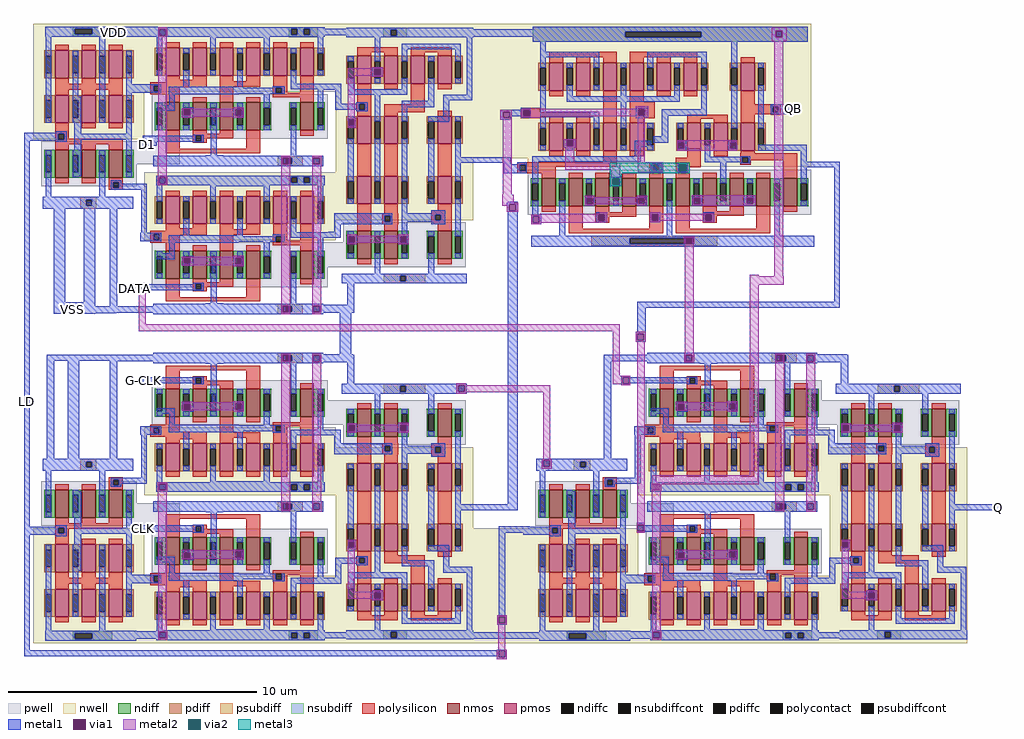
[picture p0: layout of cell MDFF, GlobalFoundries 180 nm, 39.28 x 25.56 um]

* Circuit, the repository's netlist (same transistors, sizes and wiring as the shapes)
* NGSPICE file created from MDFF.ext - technology: gf180mcuD

.subckt pmos_3p3_V9Y6F7 w_n230_n242# a_56_n112# a_n56_n156# a_n144_n112#
X0 a_56_n112# a_n56_n156# a_n144_n112# w_n230_n242# pfet_03v3 ad=0.4928p pd=3.12u as=0.4928p ps=3.12u w=1.12u l=0.56u
.ends

.subckt nmos_3p3_F2UGVV a_164_n112# a_n164_n156# a_n252_n112# a_52_n156# a_n52_n112#
+ VSUBS
X0 a_164_n112# a_52_n156# a_n52_n112# VSUBS nfet_03v3 ad=0.4928p pd=3.12u as=0.2912p ps=1.64u w=1.12u l=0.56u
X1 a_n52_n112# a_n164_n156# a_n252_n112# VSUBS nfet_03v3 ad=0.2912p pd=1.64u as=0.4928p ps=3.12u w=1.12u l=0.56u
.ends

.subckt nmos_3p3_A2UGVV a_56_n112# a_n56_n156# a_n144_n112# VSUBS
X0 a_56_n112# a_n56_n156# a_n144_n112# VSUBS nfet_03v3 ad=0.4928p pd=3.12u as=0.4928p ps=3.12u w=1.12u l=0.56u
.ends

.subckt tspc2_magic CLK D Q QB VDD VSS
Xpmos_3p3_V9Y6F7_0 VDD m1_467_40# D VDD pmos_3p3_V9Y6F7
Xpmos_3p3_V9Y6F7_1 VDD m1_467_40# D VDD pmos_3p3_V9Y6F7
Xpmos_3p3_V9Y6F7_2 VDD a_1434_n99# CLK VDD pmos_3p3_V9Y6F7
Xpmos_3p3_V9Y6F7_3 VDD a_697_n933# CLK m1_467_40# pmos_3p3_V9Y6F7
Xpmos_3p3_V9Y6F7_4 VDD m1_467_40# D VDD pmos_3p3_V9Y6F7
Xpmos_3p3_V9Y6F7_5 VDD VDD D m1_467_40# pmos_3p3_V9Y6F7
Xpmos_3p3_V9Y6F7_6 VDD Q QB VDD pmos_3p3_V9Y6F7
Xpmos_3p3_V9Y6F7_7 VDD VDD a_1434_n99# QB pmos_3p3_V9Y6F7
Xpmos_3p3_V9Y6F7_8 VDD VDD CLK a_1434_n99# pmos_3p3_V9Y6F7
Xpmos_3p3_V9Y6F7_9 VDD QB a_1434_n99# VDD pmos_3p3_V9Y6F7
Xnmos_3p3_F2UGVV_0 m1_622_n799# a_697_n933# m1_622_n799# a_697_n933# a_1434_n99# VSS
+ nmos_3p3_F2UGVV
Xnmos_3p3_F2UGVV_1 m1_1476_n799# CLK m1_1476_n799# CLK QB VSS nmos_3p3_F2UGVV
Xnmos_3p3_A2UGVV_0 VSS D a_697_n933# VSS nmos_3p3_A2UGVV
Xnmos_3p3_A2UGVV_1 m1_622_n799# CLK VSS VSS nmos_3p3_A2UGVV
Xnmos_3p3_A2UGVV_2 VSS CLK m1_622_n799# VSS nmos_3p3_A2UGVV
Xnmos_3p3_A2UGVV_3 m1_1476_n799# a_1434_n99# VSS VSS nmos_3p3_A2UGVV
Xnmos_3p3_A2UGVV_4 VSS a_1434_n99# m1_1476_n799# VSS nmos_3p3_A2UGVV
Xpmos_3p3_V9Y6F7_10 VDD a_697_n933# CLK m1_467_40# pmos_3p3_V9Y6F7
Xnmos_3p3_A2UGVV_5 Q QB VSS VSS nmos_3p3_A2UGVV
Xpmos_3p3_V9Y6F7_12 VDD a_697_n933# CLK m1_467_40# pmos_3p3_V9Y6F7
Xpmos_3p3_V9Y6F7_11 VDD m1_467_40# CLK a_697_n933# pmos_3p3_V9Y6F7
Xpmos_3p3_V9Y6F7_13 VDD Q QB VDD pmos_3p3_V9Y6F7
.ends

.subckt pmos_3p3_VZX6F7 a_164_n112# a_n164_n156# a_n252_n112# a_52_n156# w_n338_n242#
+ a_n52_n112#
X0 a_164_n112# a_52_n156# a_n52_n112# w_n338_n242# pfet_03v3 ad=0.4928p pd=3.12u as=0.2912p ps=1.64u w=1.12u l=0.56u
X1 a_n52_n112# a_n164_n156# a_n252_n112# w_n338_n242# pfet_03v3 ad=0.2912p pd=1.64u as=0.4928p ps=3.12u w=1.12u l=0.56u
.ends

.subckt AND2_magic A B VDD VOUT VSS
Xpmos_3p3_VZX6F7_0 VDD A VDD A VDD a_1071_n42# pmos_3p3_VZX6F7
Xpmos_3p3_VZX6F7_1 VDD B VDD B VDD a_1071_n42# pmos_3p3_VZX6F7
Xpmos_3p3_VZX6F7_2 VDD a_1071_n42# VDD a_1071_n42# VDD VOUT pmos_3p3_VZX6F7
Xnmos_3p3_F2UGVV_0 m1_349_n207# B m1_349_n207# B VSS VSS nmos_3p3_F2UGVV
Xnmos_3p3_A2UGVV_0 m1_349_n207# A a_1071_n42# VSS nmos_3p3_A2UGVV
Xnmos_3p3_A2UGVV_1 a_1071_n42# A m1_349_n207# VSS nmos_3p3_A2UGVV
Xnmos_3p3_A2UGVV_2 VOUT a_1071_n42# VSS VSS nmos_3p3_A2UGVV
.ends

.subckt pmos_3p3_VRCSD7 a_n56_24# a_n272_24# a_272_n292# a_56_n292# a_160_24# a_n360_n292#
+ a_n160_68# a_n272_n336# a_n360_68# a_160_n336# a_n56_n336# a_272_68# a_56_68# w_n446_n422#
+ a_n160_n292#
X0 a_272_68# a_160_24# a_56_68# w_n446_n422# pfet_03v3 ad=0.4928p pd=3.12u as=0.2912p ps=1.64u w=1.12u l=0.56u
X1 a_56_n292# a_n56_n336# a_n160_n292# w_n446_n422# pfet_03v3 ad=0.2912p pd=1.64u as=0.2912p ps=1.64u w=1.12u l=0.56u
X2 a_272_n292# a_160_n336# a_56_n292# w_n446_n422# pfet_03v3 ad=0.4928p pd=3.12u as=0.2912p ps=1.64u w=1.12u l=0.56u
X3 a_n160_68# a_n272_24# a_n360_68# w_n446_n422# pfet_03v3 ad=0.2912p pd=1.64u as=0.4928p ps=3.12u w=1.12u l=0.56u
X4 a_n160_n292# a_n272_n336# a_n360_n292# w_n446_n422# pfet_03v3 ad=0.2912p pd=1.64u as=0.4928p ps=3.12u w=1.12u l=0.56u
X5 a_56_68# a_n56_24# a_n160_68# w_n446_n422# pfet_03v3 ad=0.2912p pd=1.64u as=0.2912p ps=1.64u w=1.12u l=0.56u
.ends

.subckt OR_magic A B VOUT VSS VDD
Xpmos_3p3_V9Y6F7_0 VDD VOUT a_822_n570# VDD pmos_3p3_V9Y6F7
Xpmos_3p3_V9Y6F7_4 VDD a_822_n570# B m1_99_40# pmos_3p3_V9Y6F7
Xpmos_3p3_VZX6F7_0 m1_99_40# B m1_99_40# B VDD a_822_n570# pmos_3p3_VZX6F7
Xpmos_3p3_V9Y6F7_5 VDD m1_99_40# A VDD pmos_3p3_V9Y6F7
Xpmos_3p3_VZX6F7_1 m1_99_40# A m1_99_40# A VDD VDD pmos_3p3_VZX6F7
Xpmos_3p3_V9Y6F7_6 VDD VOUT a_822_n570# VDD pmos_3p3_V9Y6F7
Xpmos_3p3_V9Y6F7_7 VDD a_822_n570# B m1_99_40# pmos_3p3_V9Y6F7
Xpmos_3p3_V9Y6F7_8 VDD m1_99_40# A VDD pmos_3p3_V9Y6F7
Xnmos_3p3_A2UGVV_0 a_822_n570# B VSS VSS nmos_3p3_A2UGVV
Xnmos_3p3_A2UGVV_1 VOUT a_822_n570# VSS VSS nmos_3p3_A2UGVV
Xnmos_3p3_A2UGVV_2 VSS A a_822_n570# VSS nmos_3p3_A2UGVV
.ends

.subckt nmos_3p3_G2UGVV a_272_n112# a_56_n112# a_n272_n156# a_160_n156# a_n56_n156#
+ a_n360_n112# a_n160_n112# VSUBS
X0 a_56_n112# a_n56_n156# a_n160_n112# VSUBS nfet_03v3 ad=0.2912p pd=1.64u as=0.2912p ps=1.64u w=1.12u l=0.56u
X1 a_272_n112# a_160_n156# a_56_n112# VSUBS nfet_03v3 ad=0.4928p pd=3.12u as=0.2912p ps=1.64u w=1.12u l=0.56u
X2 a_n160_n112# a_n272_n156# a_n360_n112# VSUBS nfet_03v3 ad=0.2912p pd=1.64u as=0.4928p ps=3.12u w=1.12u l=0.56u
.ends

.subckt mux_magic IN1 IN2 VOUT SEL VDD VSS
XAND2_magic_0 AND2_magic_0/A IN1 VDD OR_magic_0/A VSS AND2_magic
XAND2_magic_1 SEL IN2 VDD OR_magic_0/B VSS AND2_magic
Xpmos_3p3_VRCSD7_0 SEL SEL AND2_magic_0/A VDD SEL VDD AND2_magic_0/A SEL VDD SEL SEL
+ AND2_magic_0/A VDD VDD AND2_magic_0/A pmos_3p3_VRCSD7
XOR_magic_0 OR_magic_0/A OR_magic_0/B VOUT VSS VDD OR_magic
Xnmos_3p3_G2UGVV_0 AND2_magic_0/A VSS SEL SEL SEL VSS AND2_magic_0/A VSS nmos_3p3_G2UGVV
.ends

.subckt MDFF LD Q QB DATA D1 G-CLK CLK VSS VDD
Xtspc2_magic_0 mux_magic_3/VOUT tspc2_magic_0/D tspc2_magic_0/Q QB VDD VSS tspc2_magic
Xmux_magic_0 D1 DATA tspc2_magic_0/D LD VDD VSS mux_magic
Xmux_magic_2 tspc2_magic_0/Q DATA Q LD VDD VSS mux_magic
Xmux_magic_3 CLK G-CLK mux_magic_3/VOUT LD VDD VSS mux_magic
.ends

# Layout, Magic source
magic
tech gf180mcuD
magscale 1 10
<< nwell >>
rect -5337 -3607 -5228 -3605
rect -5440 -3684 -5228 -3607
rect -5440 -3685 -5333 -3684
rect -2396 -4661 -1957 -3581
rect -2396 -4731 -2395 -4661
rect -1958 -4731 -1957 -4661
rect -2456 -7640 -2396 -7390
rect -2456 -8317 -1959 -7640
rect -2396 -8567 -1959 -8317
<< nsubdiff >>
rect -5337 -3607 -5228 -3605
rect -5440 -3622 -5228 -3607
rect -5440 -3668 -5305 -3622
rect -5259 -3668 -5228 -3622
rect -5440 -3684 -5228 -3668
rect -5440 -3685 -5333 -3684
<< nsubdiffcont >>
rect -5305 -3668 -5259 -3622
<< metal1 >>
rect -5337 -3607 -5228 -3604
rect -5440 -3622 -5228 -3607
rect -5440 -3668 -5305 -3622
rect -5259 -3668 -5228 -3622
rect -5440 -3684 -5228 -3668
rect -5190 -3684 -4936 -3604
rect -2407 -3683 -1883 -3623
rect 12 -3636 126 -3608
rect -5440 -3685 -5333 -3684
rect 12 -3688 38 -3636
rect 90 -3688 126 -3636
rect 12 -3720 126 -3688
rect -2178 -4272 -2093 -4270
rect -2178 -4286 -2082 -4272
rect -2178 -4338 -2155 -4286
rect -2103 -4325 -2082 -4286
rect 164 -4308 192 -4229
rect -2103 -4338 -2093 -4325
rect -2178 -4352 -2093 -4338
rect -6012 -8622 -5965 -4457
rect -5056 -4562 -4943 -4482
rect -2150 -4710 -2095 -4652
rect -2150 -4781 -2017 -4710
rect 302 -4735 554 -4689
rect -2137 -4782 -2017 -4781
rect -5771 -5820 -5678 -5019
rect -5530 -5820 -5437 -5015
rect -2117 -5020 -2037 -5013
rect -2128 -5033 -2033 -5020
rect -2128 -5085 -2107 -5033
rect -2055 -5085 -2033 -5033
rect -2128 -5092 -2033 -5085
rect -5102 -5669 -5024 -5665
rect -5138 -5678 -5024 -5669
rect -5138 -5730 -5088 -5678
rect -5036 -5730 -5024 -5678
rect -5138 -5743 -5024 -5730
rect -5138 -5744 -5073 -5743
rect -5771 -5855 -5437 -5820
rect -5771 -5909 -5268 -5855
rect -5771 -5913 -5437 -5909
rect -5573 -5914 -5437 -5913
rect -5830 -6291 -5272 -6244
rect -5830 -7129 -5769 -6291
rect -5659 -6293 -5272 -6291
rect -5659 -7140 -5568 -6293
rect -3472 -6296 -3378 -5884
rect -5058 -6473 -5046 -6424
rect -2533 -6491 -2455 -6473
rect -2533 -6543 -2515 -6491
rect -2463 -6543 -2455 -6491
rect -2533 -6559 -2455 -6543
rect -2117 -7448 -2037 -5092
rect -687 -5300 -632 -5299
rect -687 -5352 -686 -5300
rect -634 -5352 -632 -5300
rect -687 -5353 -632 -5352
rect 508 -5819 554 -4735
rect -1075 -5865 554 -5819
rect -1075 -6059 -1006 -5865
rect -1088 -6076 -1006 -6059
rect -1088 -6128 -1074 -6076
rect -1022 -6081 -1006 -6076
rect -1022 -6128 -1007 -6081
rect -1088 -6141 -1007 -6128
rect -685 -6245 -630 -6244
rect -685 -6297 -684 -6245
rect -632 -6297 -630 -6245
rect -685 -6298 -630 -6297
rect -1205 -6424 -1134 -6413
rect -1205 -6426 -1057 -6424
rect -1205 -6478 -1191 -6426
rect -1139 -6473 -1057 -6426
rect -1139 -6478 -1134 -6473
rect -1205 -6491 -1134 -6478
rect -1841 -7093 -1771 -7089
rect -1841 -7145 -1831 -7093
rect -1779 -7145 -1771 -7093
rect -1841 -7151 -1771 -7145
rect -2192 -7495 -2037 -7448
rect 1810 -7495 1844 -7448
rect -2117 -7497 -2037 -7495
rect -1079 -7612 -1015 -7597
rect -5064 -7667 -5037 -7618
rect -2190 -7678 -1942 -7626
rect -1079 -7664 -1074 -7612
rect -1022 -7664 -1015 -7612
rect -1079 -7678 -1015 -7664
rect -2190 -8340 -2138 -7678
rect -2204 -8354 -2126 -8340
rect -2204 -8406 -2190 -8354
rect -2138 -8406 -2126 -8354
rect -2204 -8417 -2126 -8406
rect -2421 -8531 -1841 -8478
rect -2206 -8622 -2127 -8617
rect -6012 -8625 -2127 -8622
rect -6012 -8669 -2192 -8625
rect -2206 -8677 -2192 -8669
rect -2140 -8677 -2127 -8625
rect -2206 -8693 -2127 -8677
<< via1 >>
rect 38 -3688 90 -3636
rect -2155 -4338 -2103 -4286
rect -2107 -5085 -2055 -5033
rect -5088 -5730 -5036 -5678
rect -2515 -6543 -2463 -6491
rect -686 -5352 -634 -5300
rect -1074 -6128 -1022 -6076
rect -684 -6297 -632 -6245
rect -1191 -6478 -1139 -6426
rect -1831 -7145 -1779 -7093
rect -1074 -7664 -1022 -7612
rect -2190 -8406 -2138 -8354
rect -2192 -8677 -2140 -8625
<< metal2 >>
rect 8 -3636 126 -3608
rect 8 -3688 38 -3636
rect 90 -3688 126 -3636
rect 8 -3720 126 -3688
rect -2178 -4271 -2093 -4270
rect -2178 -4286 -2087 -4271
rect -2178 -4338 -2155 -4286
rect -2103 -4338 -2087 -4286
rect -2178 -4352 -2087 -4338
rect -2160 -4957 -2087 -4352
rect -2162 -5020 -2071 -4957
rect -2162 -5033 -2033 -5020
rect -2162 -5045 -2107 -5033
rect -2128 -5085 -2107 -5045
rect -2055 -5085 -2033 -5033
rect -2128 -5092 -2033 -5085
rect -700 -5300 -618 -5292
rect -700 -5352 -686 -5300
rect -634 -5352 -618 -5300
rect -5102 -5678 -5024 -5665
rect -5102 -5730 -5088 -5678
rect -5036 -5730 -5024 -5678
rect -5102 -5743 -5024 -5730
rect -5090 -5998 -5034 -5743
rect -5090 -6054 -1217 -5998
rect -1273 -6413 -1217 -6054
rect -1088 -6076 -1007 -6059
rect -1088 -6128 -1074 -6076
rect -1022 -6128 -1007 -6076
rect -1088 -6141 -1007 -6128
rect -1273 -6426 -1134 -6413
rect -2533 -6488 -2455 -6473
rect -1273 -6478 -1191 -6426
rect -1139 -6478 -1134 -6426
rect -1273 -6480 -1134 -6478
rect -2533 -6489 -2401 -6488
rect -2533 -6491 -1776 -6489
rect -1205 -6491 -1134 -6480
rect -2533 -6543 -2515 -6491
rect -2463 -6543 -1776 -6491
rect -2533 -6546 -1776 -6543
rect -2533 -6559 -2455 -6546
rect -1833 -7086 -1776 -6546
rect -1846 -7093 -1764 -7086
rect -1846 -7145 -1831 -7093
rect -1779 -7145 -1764 -7093
rect -1846 -7161 -1764 -7145
rect -1077 -7598 -1016 -6141
rect -694 -6236 -623 -5352
rect -169 -5610 -97 -5601
rect 28 -5610 100 -3720
rect -169 -5682 104 -5610
rect -697 -6245 -618 -6236
rect -697 -6297 -684 -6245
rect -632 -6297 -618 -6245
rect -697 -6304 -618 -6297
rect -169 -7213 -97 -5682
rect -957 -7285 -97 -7213
rect -957 -7336 -885 -7285
rect -1079 -7612 -1015 -7598
rect -1079 -7664 -1074 -7612
rect -1022 -7664 -1015 -7612
rect -1079 -7678 -1015 -7664
rect -2204 -8354 -2126 -8340
rect -2204 -8406 -2190 -8354
rect -2138 -8406 -2126 -8354
rect -2204 -8417 -2126 -8406
rect -2193 -8617 -2137 -8417
rect -2206 -8625 -2127 -8617
rect -2206 -8677 -2192 -8625
rect -2140 -8677 -2127 -8625
rect -2206 -8693 -2127 -8677
use mux_magic  mux_magic_0
transform 1 0 -4332 0 1 -5117
box -1637 -802 2187 1536
use mux_magic  mux_magic_2
transform 1 0 -356 0 -1 -7031
box -1637 -802 2187 1536
use mux_magic  mux_magic_3
transform 1 0 -4332 0 -1 -7031
box -1637 -802 2187 1536
use tspc2_magic  tspc2_magic_0
transform 1 0 -2109 0 1 -4247
box 9 -1127 2457 666
<< labels >>
flabel metal1 s -5991 -6620 -5991 -6620 0 FreeSans 750 0 0 0 LD
port 1 nsew
flabel metal1 s 1833 -7471 1833 -7471 0 FreeSans 750 0 0 0 Q
port 2 nsew
flabel metal1 s 181 -4262 181 -4262 0 FreeSans 750 0 0 0 QB
port 3 nsew
flabel metal1 s -5125 -5711 -5125 -5711 0 FreeSans 750 0 0 0 DATA
port 4 nsew
flabel metal1 s -5014 -4550 -5014 -4550 0 FreeSans 750 0 0 0 D1
port 5 nsew
flabel metal1 s -5052 -6451 -5052 -6451 0 FreeSans 750 0 0 0 G-CLK
port 6 nsew
flabel metal1 s -5050 -7640 -5050 -7640 0 FreeSans 750 0 0 0 CLK
port 7 nsew
flabel metal1 s -5622 -5877 -5622 -5877 0 FreeSans 1250 0 0 0 VSS
port 8 nsew
rlabel metal1 -5360 -3680 -5228 -3620 0 VDD
port 9 nsew
<< end >>

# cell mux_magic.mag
magic
tech gf180mcuD
magscale 1 10
<< nwell >>
rect -1604 1453 -712 1536
rect -1287 1438 -968 1453
rect -1287 1433 -1028 1438
<< pwell >>
rect -650 591 -427 612
rect -775 406 -427 591
rect 766 -421 891 -222
rect 1442 -421 1538 -61
<< psubdiff >>
rect -1229 120 -1098 145
rect -1229 74 -1180 120
rect -1134 74 -1098 120
rect -1229 50 -1098 74
<< nsubdiff >>
rect -1287 1499 -968 1512
rect -1287 1453 -1270 1499
rect -1130 1453 -968 1499
rect -1287 1438 -968 1453
<< psubdiffcont >>
rect -1180 74 -1134 120
<< nsubdiffcont >>
rect -1270 1453 -1130 1499
<< polysilicon >>
rect -1430 1007 -886 1055
rect -1430 651 -1318 710
rect -1430 605 -1404 651
rect -1358 613 -1318 651
rect -1358 605 -886 613
rect -1430 567 -886 605
rect -998 263 -886 289
rect -998 217 -962 263
rect -916 217 -886 263
rect -998 200 -886 217
<< polycontact >>
rect -1404 605 -1358 651
rect -962 217 -916 263
<< metal1 >>
rect -1508 1499 -778 1513
rect -1508 1453 -1270 1499
rect -1130 1498 -778 1499
rect -1130 1495 -529 1498
rect -1130 1453 -590 1495
rect -1508 1443 -590 1453
rect -538 1443 -529 1495
rect 692 1446 957 1496
rect -1508 1441 -529 1443
rect -1508 1439 -530 1441
rect -1508 1433 -778 1439
rect -1505 741 -1459 1433
rect -1289 950 -1243 1321
rect -1289 780 -1220 950
rect -1426 660 -1335 672
rect -1637 651 -1335 660
rect -1637 605 -1404 651
rect -1358 605 -1335 651
rect -1637 597 -1335 605
rect -1426 586 -1335 597
rect -1275 652 -1220 780
rect -1073 741 -1027 1433
rect -857 1050 -811 1321
rect -857 982 -707 1050
rect 766 1009 873 1055
rect 729 1006 873 1009
rect -857 652 -811 982
rect 827 845 873 1006
rect -1275 604 -811 652
rect -1505 146 -1459 521
rect -1275 480 -1220 604
rect -1289 310 -1220 480
rect -1289 301 -1243 310
rect -1073 146 -1027 521
rect -857 301 -811 604
rect -724 587 -558 636
rect 392 459 462 462
rect 392 407 401 459
rect 453 407 462 459
rect 392 405 462 407
rect 641 460 711 463
rect 641 408 650 460
rect 702 408 711 460
rect 1914 417 2187 464
rect 641 406 711 408
rect -599 303 -529 306
rect -980 263 -899 277
rect -980 217 -962 263
rect -916 249 -899 263
rect -599 251 -590 303
rect -538 251 -529 303
rect -599 249 -529 251
rect -916 217 -691 249
rect -980 203 -691 217
rect -1531 120 -800 146
rect -1531 74 -1180 120
rect -1134 74 -800 120
rect -1531 49 -800 74
rect -991 -737 -931 49
rect -738 -144 -691 203
rect 818 -77 941 13
rect 818 -138 869 -77
rect -746 -212 -574 -144
rect 768 -184 869 -138
rect 768 -185 827 -184
rect -715 -607 -559 -558
rect 920 -725 979 -520
rect 671 -730 979 -725
rect 392 -734 462 -731
rect -991 -788 -603 -737
rect 392 -786 401 -734
rect 453 -786 462 -734
rect 392 -788 462 -786
rect 641 -733 979 -730
rect 641 -785 650 -733
rect 702 -785 979 -733
rect 641 -787 979 -785
rect 671 -788 979 -787
rect 671 -790 965 -788
<< via1 >>
rect -590 1443 -538 1495
rect 401 407 453 459
rect 650 408 702 460
rect -590 251 -538 303
rect 401 -786 453 -734
rect 650 -785 702 -733
<< metal2 >>
rect -601 1495 -527 1510
rect -601 1443 -590 1495
rect -538 1443 -527 1495
rect -601 1431 -527 1443
rect -599 476 -529 1431
rect -602 316 -529 476
rect 390 459 465 474
rect 390 407 401 459
rect 453 407 465 459
rect 390 392 465 407
rect 639 460 715 475
rect 639 408 650 460
rect 702 408 715 460
rect 639 392 715 408
rect -602 303 -527 316
rect -602 251 -590 303
rect -538 251 -527 303
rect -602 237 -527 251
rect 392 -718 462 392
rect 641 -125 711 392
rect 641 -215 708 -125
rect 641 -718 711 -215
rect 390 -734 465 -718
rect 390 -786 401 -734
rect 453 -786 465 -734
rect 390 -800 465 -786
rect 639 -733 713 -718
rect 639 -785 650 -733
rect 702 -785 713 -733
rect 639 -799 713 -785
use AND2_magic  AND2_magic_0
transform 1 0 -747 0 1 990
box 35 -598 1575 546
use AND2_magic  AND2_magic_1
transform 1 0 -747 0 1 -204
box 35 -598 1575 546
use nmos_3p3_G2UGVV  nmos_3p3_G2UGVV_0
transform 1 0 -1158 0 1 411
box -384 -180 384 180
use OR_magic  OR_magic_0
transform 1 0 828 0 1 925
box 0 -1478 1136 611
use pmos_3p3_VRCSD7  pmos_3p3_VRCSD7_0
transform 1 0 -1158 0 1 1031
box -446 -422 446 422
<< labels >>
flabel metal1 s -701 611 -701 611 0 FreeSans 750 0 0 0 IN1
port 1 nsew
flabel metal1 s -701 -588 -701 -588 0 FreeSans 750 0 0 0 IN2
port 2 nsew
flabel metal1 s 2142 436 2142 436 0 FreeSans 750 0 0 0 VOUT
port 3 nsew
flabel metal1 s -1530 626 -1530 626 0 FreeSans 750 0 0 0 SEL
port 4 nsew
flabel metal1 s -1001 1478 -1001 1478 0 FreeSans 1250 0 0 0 VDD
port 5 nsew
rlabel metal1 -1134 60 -1027 150 0 VSS
port 6 nsew
<< end >>

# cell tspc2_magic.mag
magic
tech gf180mcuD
magscale 1 10
<< nwell >>
rect 152 484 2433 666
rect 2152 -484 2433 484
<< psubdiff >>
rect 664 -1057 1679 -1042
rect 664 -1103 973 -1057
rect 1489 -1103 1679 -1057
rect 664 -1121 1679 -1103
<< nsubdiff >>
rect 192 603 2406 642
rect 192 557 938 603
rect 1548 557 2406 603
rect 192 524 2406 557
<< psubdiffcont >>
rect 973 -1103 1489 -1057
<< nsubdiffcont >>
rect 938 557 1548 603
<< polysilicon >>
rect 326 398 870 442
rect 974 398 1518 442
rect 94 -15 181 -10
rect 94 -29 251 -15
rect 94 -75 118 -29
rect 164 -46 251 -29
rect 164 -75 654 -46
rect 94 -86 654 -75
rect 758 -86 870 86
rect 974 40 1086 86
rect 974 -25 1174 40
rect 974 -71 1047 -25
rect 1093 -71 1174 -25
rect 1866 18 1978 86
rect 2106 18 2190 20
rect 1866 1 2190 18
rect 1866 -45 2122 1
rect 2168 -45 2190 1
rect 1866 -61 2190 -45
rect 974 -86 1174 -71
rect 94 -92 251 -86
rect 1086 -94 1174 -86
rect 1434 -99 1762 -63
rect 1866 -86 1978 -61
rect 2106 -63 2190 -61
rect 758 -447 870 -398
rect 1434 -410 1546 -334
rect 67 -469 870 -447
rect 67 -515 89 -469
rect 135 -484 870 -469
rect 1129 -463 1241 -446
rect 135 -515 377 -484
rect 67 -532 377 -515
rect 1129 -509 1162 -463
rect 1208 -509 1241 -463
rect 1129 -532 1241 -509
rect 1345 -470 1546 -410
rect 1861 -405 2321 -375
rect 1861 -451 1880 -405
rect 1926 -431 2321 -405
rect 1926 -451 1947 -431
rect 1861 -469 1947 -451
rect 1345 -516 1377 -470
rect 1423 -486 1546 -470
rect 1423 -516 1457 -486
rect 1345 -532 1457 -516
rect 2209 -532 2321 -431
rect 67 -535 265 -532
rect 481 -981 593 -841
rect 697 -848 809 -800
rect 913 -848 1025 -800
rect 697 -870 1025 -848
rect 697 -916 725 -870
rect 771 -885 1025 -870
rect 1129 -868 1241 -841
rect 771 -916 809 -885
rect 697 -933 809 -916
rect 1129 -914 1153 -868
rect 1199 -914 1241 -868
rect 1129 -981 1241 -914
rect 481 -1019 1241 -981
rect 1345 -981 1457 -841
rect 1561 -868 1889 -841
rect 1561 -914 1584 -868
rect 1630 -877 1889 -868
rect 1630 -914 1673 -877
rect 1561 -933 1673 -914
rect 1993 -981 2105 -841
rect 1345 -1019 2105 -981
<< polycontact >>
rect 118 -75 164 -29
rect 1047 -71 1093 -25
rect 2122 -45 2168 1
rect 89 -515 135 -469
rect 1162 -509 1208 -463
rect 1880 -451 1926 -405
rect 1377 -516 1423 -470
rect 725 -916 771 -870
rect 1153 -914 1199 -868
rect 1584 -914 1630 -868
<< metal1 >>
rect 192 603 2406 642
rect 192 557 938 603
rect 1548 557 2406 603
rect 192 524 2406 557
rect 251 444 297 524
rect 251 398 729 444
rect 251 341 297 398
rect 683 341 729 398
rect 1115 398 1593 444
rect 1115 341 1161 398
rect 1547 341 1593 398
rect 1791 341 1837 524
rect 94 -25 175 -10
rect 22 -26 175 -25
rect 22 -78 115 -26
rect 167 -78 175 -26
rect 94 -90 175 -78
rect 251 -40 297 143
rect 467 86 513 143
rect 899 86 945 143
rect 1331 86 1377 143
rect 467 40 1377 86
rect 251 -86 729 -40
rect 251 -143 297 -86
rect 683 -143 729 -86
rect 899 -143 945 40
rect 1023 -20 1123 -7
rect 1547 -19 1593 143
rect 1023 -72 1043 -20
rect 1095 -72 1123 -20
rect 1023 -83 1123 -72
rect 1230 -73 1593 -19
rect 1023 -94 1077 -83
rect 1230 -238 1284 -73
rect 1791 -143 1837 143
rect 2007 -143 2053 143
rect 2106 1 2285 18
rect 2106 -45 2122 1
rect 2168 -45 2285 1
rect 2106 -61 2285 -45
rect 442 -268 538 -264
rect 442 -320 464 -268
rect 516 -320 538 -268
rect 442 -332 538 -320
rect 1014 -322 1144 -276
rect 1161 -292 1284 -238
rect 1356 -286 1427 -271
rect 1014 -398 1060 -322
rect 1356 -338 1361 -286
rect 1413 -338 1427 -286
rect 1356 -354 1427 -338
rect 1767 -286 1837 -271
rect 1767 -338 1781 -286
rect 1833 -338 1837 -286
rect 190 -444 1060 -398
rect 1575 -401 1621 -341
rect 1767 -354 1837 -338
rect 2007 -353 2396 -307
rect 1866 -401 1943 -398
rect 1575 -405 1943 -401
rect 67 -463 142 -447
rect 9 -469 142 -463
rect 9 -515 89 -469
rect 135 -515 142 -469
rect 9 -521 142 -515
rect 67 -535 142 -521
rect 190 -586 236 -444
rect 1142 -460 1229 -447
rect 1575 -448 1880 -405
rect 1142 -512 1159 -460
rect 1211 -512 1229 -460
rect 1142 -525 1229 -512
rect 1361 -467 1440 -453
rect 1361 -519 1374 -467
rect 1426 -519 1440 -467
rect 1361 -533 1440 -519
rect 813 -576 910 -563
rect 813 -628 835 -576
rect 887 -628 910 -576
rect 1702 -586 1748 -448
rect 1861 -451 1880 -448
rect 1926 -451 1943 -405
rect 1861 -457 1943 -451
rect 2350 -442 2396 -353
rect 2350 -488 2457 -442
rect 2350 -586 2396 -488
rect 813 -641 910 -628
rect 622 -732 689 -716
rect 622 -784 623 -732
rect 675 -784 689 -732
rect 190 -869 236 -787
rect 180 -881 260 -869
rect 180 -933 194 -881
rect 246 -933 260 -881
rect 180 -948 260 -933
rect 406 -1037 452 -784
rect 622 -799 689 -784
rect 1031 -731 1107 -718
rect 1031 -783 1043 -731
rect 1095 -783 1107 -731
rect 1031 -796 1107 -783
rect 1476 -732 1555 -711
rect 1476 -784 1487 -732
rect 1539 -784 1555 -732
rect 703 -865 791 -851
rect 703 -917 721 -865
rect 773 -917 791 -865
rect 703 -932 791 -917
rect 1132 -865 1220 -851
rect 1132 -917 1150 -865
rect 1202 -917 1220 -865
rect 1132 -931 1220 -917
rect 1270 -1037 1316 -784
rect 1476 -799 1555 -784
rect 1889 -731 1987 -711
rect 1889 -783 1913 -731
rect 1965 -783 1987 -731
rect 1889 -797 1987 -783
rect 1563 -865 1651 -850
rect 1563 -917 1581 -865
rect 1633 -917 1651 -865
rect 1563 -930 1651 -917
rect 2134 -1037 2180 -784
rect 178 -1057 2456 -1037
rect 178 -1103 973 -1057
rect 1489 -1103 2456 -1057
rect 178 -1127 2456 -1103
<< via1 >>
rect 115 -29 167 -26
rect 115 -75 118 -29
rect 118 -75 164 -29
rect 164 -75 167 -29
rect 115 -78 167 -75
rect 1043 -25 1095 -20
rect 1043 -71 1047 -25
rect 1047 -71 1093 -25
rect 1093 -71 1095 -25
rect 1043 -72 1095 -71
rect 464 -320 516 -268
rect 1361 -338 1413 -286
rect 1781 -338 1833 -286
rect 1159 -463 1211 -460
rect 1159 -509 1162 -463
rect 1162 -509 1208 -463
rect 1208 -509 1211 -463
rect 1159 -512 1211 -509
rect 1374 -470 1426 -467
rect 1374 -516 1377 -470
rect 1377 -516 1423 -470
rect 1423 -516 1426 -470
rect 1374 -519 1426 -516
rect 835 -628 887 -576
rect 623 -784 675 -732
rect 194 -933 246 -881
rect 1043 -783 1095 -731
rect 1487 -784 1539 -732
rect 721 -870 773 -865
rect 721 -916 725 -870
rect 725 -916 771 -870
rect 771 -916 773 -870
rect 721 -917 773 -916
rect 1150 -868 1202 -865
rect 1150 -914 1153 -868
rect 1153 -914 1199 -868
rect 1199 -914 1202 -868
rect 1150 -917 1202 -914
rect 1913 -783 1965 -731
rect 1581 -868 1633 -865
rect 1581 -914 1584 -868
rect 1584 -914 1630 -868
rect 1630 -914 1633 -868
rect 1581 -917 1633 -914
<< metal2 >>
rect 175 -15 251 -10
rect 1023 -15 1123 3
rect 100 -20 1123 -15
rect 100 -26 1043 -20
rect 100 -78 115 -26
rect 167 -72 1043 -26
rect 1095 -72 1123 -20
rect 167 -78 1123 -72
rect 100 -86 251 -78
rect 175 -90 251 -86
rect 1023 -94 1123 -78
rect 442 -268 538 -264
rect 442 -320 464 -268
rect 516 -320 538 -268
rect 442 -332 538 -320
rect 454 -450 526 -332
rect 1037 -446 1095 -94
rect 1356 -286 1837 -271
rect 1356 -338 1361 -286
rect 1413 -338 1781 -286
rect 1833 -338 1837 -286
rect 1356 -354 1837 -338
rect 454 -506 898 -450
rect 825 -563 898 -506
rect 1037 -460 1241 -446
rect 1037 -512 1159 -460
rect 1211 -512 1241 -460
rect 1037 -528 1241 -512
rect 1361 -465 1440 -453
rect 1361 -521 1372 -465
rect 1428 -521 1440 -465
rect 1361 -533 1440 -521
rect 813 -576 910 -563
rect 813 -632 834 -576
rect 890 -632 910 -576
rect 813 -641 910 -632
rect 609 -728 689 -716
rect 1031 -728 1115 -718
rect 609 -731 1115 -728
rect 609 -732 1043 -731
rect 609 -784 623 -732
rect 675 -783 1043 -732
rect 1095 -783 1115 -731
rect 675 -784 1115 -783
rect 609 -786 1115 -784
rect 609 -799 689 -786
rect 1031 -796 1115 -786
rect 1473 -731 1987 -711
rect 1473 -732 1913 -731
rect 1473 -784 1487 -732
rect 1539 -783 1913 -732
rect 1965 -783 1987 -731
rect 1539 -784 1987 -783
rect 1473 -797 1987 -784
rect 1473 -799 1972 -797
rect 730 -859 791 -851
rect 712 -863 791 -859
rect 248 -865 791 -863
rect 248 -869 721 -865
rect 180 -881 721 -869
rect 180 -933 194 -881
rect 246 -917 721 -881
rect 773 -917 791 -865
rect 246 -932 791 -917
rect 1132 -863 1220 -851
rect 1563 -863 1651 -856
rect 1132 -865 1651 -863
rect 1132 -917 1150 -865
rect 1202 -917 1581 -865
rect 1633 -917 1651 -865
rect 1132 -919 1651 -917
rect 1132 -931 1220 -919
rect 1563 -930 1651 -919
rect 246 -933 779 -932
rect 180 -948 260 -933
<< via2 >>
rect 1372 -467 1428 -465
rect 1372 -519 1374 -467
rect 1374 -519 1426 -467
rect 1426 -519 1428 -467
rect 1372 -521 1428 -519
rect 834 -628 835 -576
rect 835 -628 887 -576
rect 887 -628 890 -576
rect 834 -632 890 -628
<< metal3 >>
rect 813 -465 1457 -453
rect 813 -521 1372 -465
rect 1428 -521 1457 -465
rect 813 -535 1457 -521
rect 813 -576 910 -535
rect 813 -632 834 -576
rect 890 -632 910 -576
rect 813 -641 910 -632
use nmos_3p3_A2UGVV  nmos_3p3_A2UGVV_0
transform 1 0 321 0 1 -688
box -168 -180 168 180
use nmos_3p3_A2UGVV  nmos_3p3_A2UGVV_1
transform 1 0 537 0 1 -688
box -168 -180 168 180
use nmos_3p3_A2UGVV  nmos_3p3_A2UGVV_2
transform 1 0 1185 0 1 -688
box -168 -180 168 180
use nmos_3p3_A2UGVV  nmos_3p3_A2UGVV_3
transform 1 0 1401 0 1 -688
box -168 -180 168 180
use nmos_3p3_A2UGVV  nmos_3p3_A2UGVV_4
transform 1 0 2049 0 1 -688
box -168 -180 168 180
use nmos_3p3_A2UGVV  nmos_3p3_A2UGVV_5
transform 1 0 2265 0 1 -688
box -168 -180 168 180
use nmos_3p3_F2UGVV  nmos_3p3_F2UGVV_0
transform 1 0 861 0 1 -688
box -276 -180 276 180
use nmos_3p3_F2UGVV  nmos_3p3_F2UGVV_1
transform 1 0 1725 0 1 -688
box -276 -180 276 180
use pmos_3p3_V9Y6F7  pmos_3p3_V9Y6F7_0
transform 1 0 814 0 1 242
box -230 -242 230 242
use pmos_3p3_V9Y6F7  pmos_3p3_V9Y6F7_1
transform 1 0 382 0 1 242
box -230 -242 230 242
use pmos_3p3_V9Y6F7  pmos_3p3_V9Y6F7_2
transform 1 0 382 0 1 -242
box -230 -242 230 242
use pmos_3p3_V9Y6F7  pmos_3p3_V9Y6F7_3
transform 1 0 1030 0 1 -242
box -230 -242 230 242
use pmos_3p3_V9Y6F7  pmos_3p3_V9Y6F7_4
transform 1 0 814 0 1 -242
box -230 -242 230 242
use pmos_3p3_V9Y6F7  pmos_3p3_V9Y6F7_5
transform 1 0 598 0 1 242
box -230 -242 230 242
use pmos_3p3_V9Y6F7  pmos_3p3_V9Y6F7_6
transform 1 0 1922 0 1 -242
box -230 -242 230 242
use pmos_3p3_V9Y6F7  pmos_3p3_V9Y6F7_7
transform 1 0 1706 0 1 -242
box -230 -242 230 242
use pmos_3p3_V9Y6F7  pmos_3p3_V9Y6F7_8
transform 1 0 598 0 1 -242
box -230 -242 230 242
use pmos_3p3_V9Y6F7  pmos_3p3_V9Y6F7_9
transform 1 0 1490 0 1 -242
box -230 -242 230 242
use pmos_3p3_V9Y6F7  pmos_3p3_V9Y6F7_10
transform 1 0 1030 0 1 242
box -230 -242 230 242
use pmos_3p3_V9Y6F7  pmos_3p3_V9Y6F7_11
transform 1 0 1246 0 1 242
box -230 -242 230 242
use pmos_3p3_V9Y6F7  pmos_3p3_V9Y6F7_12
transform 1 0 1462 0 1 242
box -230 -242 230 242
use pmos_3p3_V9Y6F7  pmos_3p3_V9Y6F7_13
transform 1 0 1922 0 1 242
box -230 -242 230 242
<< labels >>
flabel nsubdiffcont 1245 581 1245 581 0 FreeSans 750 0 0 0 VDD
flabel psubdiffcont 1229 -1083 1229 -1083 0 FreeSans 750 0 0 0 VSS
flabel metal1 s 40 -49 40 -49 0 FreeSans 250 0 0 0 CLK
port 1 nsew
flabel metal1 s 22 -498 22 -498 0 FreeSans 250 0 0 0 D
port 2 nsew
flabel metal1 s 2428 -466 2428 -466 0 FreeSans 750 0 0 0 Q
port 3 nsew
flabel metal1 s 2250 -25 2250 -25 0 FreeSans 750 0 0 0 QB
port 4 nsew
<< end >>

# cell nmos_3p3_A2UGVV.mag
magic
tech gf180mcuD
magscale 1 10
<< pwell >>
rect -168 -180 168 180
<< nmos >>
rect -56 -112 56 112
<< ndiff >>
rect -144 70 -56 112
rect -144 -70 -131 70
rect -85 -70 -56 70
rect -144 -112 -56 -70
rect 56 70 144 112
rect 56 -70 85 70
rect 131 -70 144 70
rect 56 -112 144 -70
<< ndiffc >>
rect -131 -70 -85 70
rect 85 -70 131 70
<< polysilicon >>
rect -56 112 56 156
rect -56 -156 56 -112
<< metal1 >>
rect -131 70 -85 110
rect -131 -110 -85 -70
rect 85 70 131 110
rect 85 -110 131 -70
<< end >>

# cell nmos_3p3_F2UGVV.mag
magic
tech gf180mcuD
magscale 1 10
<< pwell >>
rect -276 -180 276 180
<< nmos >>
rect -164 -112 -52 112
rect 52 -112 164 112
<< ndiff >>
rect -252 70 -164 112
rect -252 -70 -239 70
rect -193 -70 -164 70
rect -252 -112 -164 -70
rect -52 70 52 112
rect -52 -70 -23 70
rect 23 -70 52 70
rect -52 -112 52 -70
rect 164 70 252 112
rect 164 -70 193 70
rect 239 -70 252 70
rect 164 -112 252 -70
<< ndiffc >>
rect -239 -70 -193 70
rect -23 -70 23 70
rect 193 -70 239 70
<< polysilicon >>
rect -164 112 -52 156
rect 52 112 164 156
rect -164 -156 -52 -112
rect 52 -156 164 -112
<< metal1 >>
rect -239 70 -193 110
rect -239 -110 -193 -70
rect -23 70 23 110
rect -23 -110 23 -70
rect 193 70 239 110
rect 193 -110 239 -70
<< end >>

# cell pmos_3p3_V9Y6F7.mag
magic
tech gf180mcuD
magscale 1 10
<< nwell >>
rect -230 -242 230 242
<< pmos >>
rect -56 -112 56 112
<< pdiff >>
rect -144 70 -56 112
rect -144 -70 -131 70
rect -85 -70 -56 70
rect -144 -112 -56 -70
rect 56 70 144 112
rect 56 -70 85 70
rect 131 -70 144 70
rect 56 -112 144 -70
<< pdiffc >>
rect -131 -70 -85 70
rect 85 -70 131 70
<< polysilicon >>
rect -56 112 56 156
rect -56 -156 56 -112
<< metal1 >>
rect -131 70 -85 110
rect -131 -110 -85 -70
rect 85 70 131 110
rect 85 -110 131 -70
<< end >>

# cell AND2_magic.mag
magic
tech gf180mcuD
magscale 1 10
<< nwell >>
rect 35 484 1575 546
rect 35 441 1489 484
rect 35 404 196 441
rect 608 434 1041 441
rect 35 403 51 404
rect 208 38 536 95
rect 641 42 969 86
<< pwell >>
rect 721 -378 1403 -18
<< psubdiff >>
rect 1110 -532 1310 -517
rect 1110 -578 1177 -532
rect 1223 -578 1310 -532
rect 1110 -596 1310 -578
<< nsubdiff >>
rect 1200 506 1430 520
rect 1200 460 1220 506
rect 1266 460 1320 506
rect 1366 460 1430 506
rect 1200 440 1430 460
<< psubdiffcont >>
rect 1177 -578 1223 -532
<< nsubdiffcont >>
rect 1220 460 1266 506
rect 1320 460 1366 506
<< polysilicon >>
rect 208 77 536 95
rect 82 49 536 77
rect 82 3 110 49
rect 156 38 536 49
rect 641 42 969 86
rect 1073 46 1185 86
rect 156 3 321 38
rect 82 -20 321 3
rect 209 -42 321 -20
rect 641 -42 753 42
rect 1071 33 1185 46
rect 1071 -13 1095 33
rect 1141 -6 1185 33
rect 1289 -6 1401 101
rect 1141 -13 1401 -6
rect 1071 -42 1401 -13
rect 209 -458 321 -312
rect 425 -339 641 -338
rect 425 -351 753 -339
rect 425 -397 448 -351
rect 494 -374 753 -351
rect 494 -397 537 -374
rect 425 -410 537 -397
rect 857 -458 969 -354
rect 209 -494 969 -458
<< polycontact >>
rect 110 3 156 49
rect 1095 -13 1141 33
rect 448 -397 494 -351
<< metal1 >>
rect 131 506 1489 520
rect 131 460 1220 506
rect 1266 460 1320 506
rect 1366 460 1489 506
rect 131 441 1489 460
rect 134 341 180 441
rect 566 434 1044 441
rect 566 341 612 434
rect 998 341 1044 434
rect 1430 341 1476 441
rect 35 49 173 60
rect 35 3 110 49
rect 156 3 173 49
rect 350 40 396 143
rect 782 40 828 143
rect 1213 65 1260 143
rect 35 -8 173 3
rect 234 31 828 40
rect 1071 33 1164 46
rect 1071 31 1095 33
rect 234 -13 1095 31
rect 1141 -13 1164 33
rect 1213 19 1520 65
rect 234 -15 1164 -13
rect 234 -20 790 -15
rect 235 -107 282 -20
rect 134 -153 282 -107
rect 349 -137 433 -125
rect 349 -189 354 -137
rect 406 -189 433 -137
rect 349 -207 433 -189
rect 580 -297 620 -90
rect 998 -99 1044 -15
rect 1430 -99 1476 19
rect 750 -142 836 -126
rect 750 -194 767 -142
rect 819 -194 836 -142
rect 750 -209 836 -194
rect 572 -330 620 -297
rect 429 -351 512 -344
rect 425 -354 448 -351
rect 148 -397 448 -354
rect 494 -397 512 -351
rect 148 -403 512 -397
rect 429 -408 512 -403
rect 572 -510 618 -330
rect 530 -514 670 -510
rect 1214 -514 1260 -297
rect 109 -532 1477 -514
rect 109 -578 1177 -532
rect 1223 -578 1477 -532
rect 109 -598 1477 -578
<< via1 >>
rect 354 -189 406 -137
rect 767 -194 819 -142
<< metal2 >>
rect 338 -135 426 -133
rect 750 -135 836 -126
rect 338 -137 836 -135
rect 338 -189 354 -137
rect 406 -142 836 -137
rect 406 -189 767 -142
rect 338 -194 767 -189
rect 819 -194 836 -142
rect 338 -202 836 -194
rect 338 -207 426 -202
rect 750 -209 836 -202
use nmos_3p3_A2UGVV  nmos_3p3_A2UGVV_0
transform 1 0 265 0 1 -198
box -168 -180 168 180
use nmos_3p3_A2UGVV  nmos_3p3_A2UGVV_1
transform 1 0 913 0 1 -198
box -168 -180 168 180
use nmos_3p3_A2UGVV  nmos_3p3_A2UGVV_2
transform 1 0 1345 0 1 -198
box -168 -180 168 180
use nmos_3p3_F2UGVV  nmos_3p3_F2UGVV_0
transform 1 0 589 0 1 -198
box -276 -180 276 180
use pmos_3p3_VZX6F7  pmos_3p3_VZX6F7_0
transform 1 0 373 0 1 242
box -338 -242 338 242
use pmos_3p3_VZX6F7  pmos_3p3_VZX6F7_1
transform 1 0 805 0 1 242
box -338 -242 338 242
use pmos_3p3_VZX6F7  pmos_3p3_VZX6F7_2
transform 1 0 1237 0 1 242
box -338 -242 338 242
<< labels >>
flabel metal1 s 44 25 44 25 0 FreeSans 750 0 0 0 A
port 2 nsew
flabel metal1 s 164 -381 164 -381 0 FreeSans 750 0 0 0 B
port 3 nsew
flabel metal1 s 591 495 591 495 0 FreeSans 1250 0 0 0 VDD
port 4 nsew
rlabel metal1 1430 -20 1476 65 0 VOUT
port 5 nsew
rlabel metal1 1223 -598 1260 -480 0 VSS
port 6 nsew
<< end >>

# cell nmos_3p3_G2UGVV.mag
magic
tech gf180mcuD
magscale 1 10
<< pwell >>
rect -384 -180 384 180
<< nmos >>
rect -272 -112 -160 112
rect -56 -112 56 112
rect 160 -112 272 112
<< ndiff >>
rect -360 70 -272 112
rect -360 -70 -347 70
rect -301 -70 -272 70
rect -360 -112 -272 -70
rect -160 70 -56 112
rect -160 -70 -131 70
rect -85 -70 -56 70
rect -160 -112 -56 -70
rect 56 70 160 112
rect 56 -70 85 70
rect 131 -70 160 70
rect 56 -112 160 -70
rect 272 70 360 112
rect 272 -70 301 70
rect 347 -70 360 70
rect 272 -112 360 -70
<< ndiffc >>
rect -347 -70 -301 70
rect -131 -70 -85 70
rect 85 -70 131 70
rect 301 -70 347 70
<< polysilicon >>
rect -272 112 -160 156
rect -56 112 56 156
rect 160 112 272 156
rect -272 -156 -160 -112
rect -56 -156 56 -112
rect 160 -156 272 -112
<< metal1 >>
rect -347 70 -301 110
rect -347 -110 -301 -70
rect -131 70 -85 110
rect -131 -110 -85 -70
rect 85 70 131 110
rect 85 -110 131 -70
rect 301 70 347 110
rect 301 -110 347 -70
<< end >>

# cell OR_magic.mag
magic
tech gf180mcuD
magscale 1 10
<< nwell >>
rect 0 466 1108 611
rect 297 185 382 263
<< pwell >>
rect 614 -1346 710 -986
<< pdiff >>
rect 297 185 382 263
<< psubdiff >>
rect 388 -1415 723 -1400
rect 388 -1461 519 -1415
rect 565 -1461 723 -1415
rect 388 -1478 723 -1461
<< nsubdiff >>
rect 382 564 573 579
rect 382 518 446 564
rect 492 518 573 564
rect 382 504 573 518
<< psubdiffcont >>
rect 519 -1461 565 -1415
<< nsubdiffcont >>
rect 446 518 492 564
<< polysilicon >>
rect 174 384 502 425
rect 606 384 934 425
rect 174 -20 286 126
rect 168 -33 286 -20
rect 168 -79 190 -33
rect 236 -79 286 -33
rect 606 -36 718 115
rect 168 -90 286 -79
rect 168 -91 177 -90
rect 390 -100 718 -36
rect 174 -570 286 -354
rect 390 -572 502 -391
rect 822 -570 934 -389
rect 174 -1010 286 -864
rect 390 -912 502 -838
rect 822 -890 934 -881
rect 375 -934 503 -912
rect 375 -980 394 -934
rect 440 -980 503 -934
rect 375 -1002 503 -980
rect 770 -925 934 -890
rect 770 -971 801 -925
rect 847 -971 934 -925
rect 770 -1002 934 -971
rect 390 -1023 502 -1002
rect 822 -1010 934 -1002
<< polycontact >>
rect 190 -79 236 -33
rect 394 -980 440 -934
rect 801 -971 847 -925
<< metal1 >>
rect 84 564 1108 579
rect 84 518 446 564
rect 492 518 1108 564
rect 84 504 1108 518
rect 315 341 361 504
rect 531 407 1009 453
rect 531 341 577 407
rect 963 341 1009 407
rect 297 250 382 263
rect 297 198 313 250
rect 365 198 382 250
rect 297 185 382 198
rect 99 86 145 154
rect 531 86 577 146
rect 99 40 577 86
rect 168 -31 258 -20
rect 38 -33 258 -31
rect 38 -79 190 -33
rect 236 -79 258 -33
rect 38 -80 258 -79
rect 168 -91 258 -80
rect 97 -157 166 -143
rect 315 -152 361 40
rect 747 -8 793 145
rect 1055 42 1101 504
rect 531 -60 793 -8
rect 868 -4 1101 42
rect 531 -143 577 -60
rect 868 -132 914 -4
rect 97 -209 100 -157
rect 152 -209 166 -157
rect 747 -178 914 -132
rect 97 -223 166 -209
rect 99 -628 145 -337
rect 315 -628 361 -337
rect 531 -629 577 -338
rect 747 -627 793 -337
rect 963 -461 1009 -337
rect 963 -508 1136 -461
rect 963 -627 1009 -508
rect 113 -934 458 -912
rect 113 -980 394 -934
rect 440 -980 458 -934
rect 113 -1002 458 -980
rect 531 -914 577 -825
rect 770 -914 882 -890
rect 531 -925 882 -914
rect 531 -971 801 -925
rect 847 -971 882 -925
rect 531 -981 882 -971
rect 531 -1083 577 -981
rect 770 -1002 882 -981
rect 963 -1070 1009 -818
rect 95 -1097 171 -1083
rect 95 -1149 102 -1097
rect 154 -1149 171 -1097
rect 95 -1162 171 -1149
rect 504 -1097 590 -1083
rect 504 -1149 520 -1097
rect 572 -1149 590 -1097
rect 504 -1163 590 -1149
rect 315 -1400 361 -1264
rect 747 -1400 793 -1240
rect 48 -1415 1057 -1400
rect 48 -1461 519 -1415
rect 565 -1461 1057 -1415
rect 48 -1478 1057 -1461
<< via1 >>
rect 313 198 365 250
rect 100 -209 152 -157
rect 102 -1149 154 -1097
rect 520 -1149 572 -1097
<< metal2 >>
rect 297 253 382 263
rect 97 250 382 253
rect 97 198 313 250
rect 365 198 382 250
rect 97 194 382 198
rect 97 -143 153 194
rect 297 185 382 194
rect 97 -157 166 -143
rect 97 -209 100 -157
rect 152 -209 166 -157
rect 97 -223 166 -209
rect 95 -1094 171 -1083
rect 504 -1094 590 -1083
rect 95 -1097 590 -1094
rect 95 -1149 102 -1097
rect 154 -1149 520 -1097
rect 572 -1149 590 -1097
rect 95 -1150 590 -1149
rect 95 -1162 171 -1150
rect 504 -1163 590 -1150
use nmos_3p3_A2UGVV  nmos_3p3_A2UGVV_0
transform 1 0 446 0 1 -1166
box -168 -180 168 180
use nmos_3p3_A2UGVV  nmos_3p3_A2UGVV_1
transform 1 0 878 0 1 -1166
box -168 -180 168 180
use nmos_3p3_A2UGVV  nmos_3p3_A2UGVV_2
transform 1 0 230 0 1 -1166
box -168 -180 168 180
use pmos_3p3_V9Y6F7  pmos_3p3_V9Y6F7_0
transform 1 0 878 0 1 -242
box -230 -242 230 242
use pmos_3p3_V9Y6F7  pmos_3p3_V9Y6F7_4
transform 1 0 446 0 1 -242
box -230 -242 230 242
use pmos_3p3_V9Y6F7  pmos_3p3_V9Y6F7_5
transform 1 0 230 0 1 -242
box -230 -242 230 242
use pmos_3p3_V9Y6F7  pmos_3p3_V9Y6F7_6
transform 1 0 878 0 1 -726
box -230 -242 230 242
use pmos_3p3_V9Y6F7  pmos_3p3_V9Y6F7_7
transform 1 0 446 0 1 -726
box -230 -242 230 242
use pmos_3p3_V9Y6F7  pmos_3p3_V9Y6F7_8
transform 1 0 230 0 1 -726
box -230 -242 230 242
use pmos_3p3_VZX6F7  pmos_3p3_VZX6F7_0
transform 1 0 770 0 1 242
box -338 -242 338 242
use pmos_3p3_VZX6F7  pmos_3p3_VZX6F7_1
transform 1 0 338 0 1 242
box -338 -242 338 242
<< labels >>
flabel metal1 s 70 -70 70 -70 0 FreeSans 750 0 0 0 A
port 1 nsew
flabel metal1 s 150 -970 150 -970 0 FreeSans 750 0 0 0 B
port 2 nsew
flabel metal1 s 1120 -490 1120 -490 0 FreeSans 750 0 0 0 VOUT
port 3 nsew
rlabel metal1 460 520 560 550 0 VDD
port 4 nsew
rlabel metal1 380 -1460 470 -1430 0 VSS
port 5 nsew
<< end >>

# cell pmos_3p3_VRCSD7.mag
magic
tech gf180mcuD
magscale 1 10
<< nwell >>
rect -446 -422 446 422
<< pmos >>
rect -272 68 -160 292
rect -56 68 56 292
rect 160 68 272 292
rect -272 -292 -160 -68
rect -56 -292 56 -68
rect 160 -292 272 -68
<< pdiff >>
rect -360 250 -272 292
rect -360 110 -347 250
rect -301 110 -272 250
rect -360 68 -272 110
rect -160 250 -56 292
rect -160 110 -131 250
rect -85 110 -56 250
rect -160 68 -56 110
rect 56 250 160 292
rect 56 110 85 250
rect 131 110 160 250
rect 56 68 160 110
rect 272 250 360 292
rect 272 110 301 250
rect 347 110 360 250
rect 272 68 360 110
rect -360 -110 -272 -68
rect -360 -250 -347 -110
rect -301 -250 -272 -110
rect -360 -292 -272 -250
rect -160 -110 -56 -68
rect -160 -250 -131 -110
rect -85 -250 -56 -110
rect -160 -292 -56 -250
rect 56 -110 160 -68
rect 56 -250 85 -110
rect 131 -250 160 -110
rect 56 -292 160 -250
rect 272 -110 360 -68
rect 272 -250 301 -110
rect 347 -250 360 -110
rect 272 -292 360 -250
<< pdiffc >>
rect -347 110 -301 250
rect -131 110 -85 250
rect 85 110 131 250
rect 301 110 347 250
rect -347 -250 -301 -110
rect -131 -250 -85 -110
rect 85 -250 131 -110
rect 301 -250 347 -110
<< polysilicon >>
rect -272 292 -160 336
rect -56 292 56 336
rect 160 292 272 336
rect -272 24 -160 68
rect -56 24 56 68
rect 160 24 272 68
rect -272 -68 -160 -24
rect -56 -68 56 -24
rect 160 -68 272 -24
rect -272 -336 -160 -292
rect -56 -336 56 -292
rect 160 -336 272 -292
<< metal1 >>
rect -347 250 -301 290
rect -347 70 -301 110
rect -131 250 -85 290
rect -131 70 -85 110
rect 85 250 131 290
rect 85 70 131 110
rect 301 250 347 290
rect 301 70 347 110
rect -347 -110 -301 -70
rect -347 -290 -301 -250
rect -131 -110 -85 -70
rect -131 -290 -85 -250
rect 85 -110 131 -70
rect 85 -290 131 -250
rect 301 -110 347 -70
rect 301 -290 347 -250
<< end >>

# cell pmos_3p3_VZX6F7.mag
magic
tech gf180mcuD
magscale 1 10
<< nwell >>
rect -338 -242 338 242
<< pmos >>
rect -164 -112 -52 112
rect 52 -112 164 112
<< pdiff >>
rect -252 70 -164 112
rect -252 -70 -239 70
rect -193 -70 -164 70
rect -252 -112 -164 -70
rect -52 70 52 112
rect -52 -70 -23 70
rect 23 -70 52 70
rect -52 -112 52 -70
rect 164 70 252 112
rect 164 -70 193 70
rect 239 -70 252 70
rect 164 -112 252 -70
<< pdiffc >>
rect -239 -70 -193 70
rect -23 -70 23 70
rect 193 -70 239 70
<< polysilicon >>
rect -164 112 -52 156
rect 52 112 164 156
rect -164 -156 -52 -112
rect 52 -156 164 -112
<< metal1 >>
rect -239 70 -193 110
rect -239 -110 -193 -70
rect -23 70 23 110
rect -23 -110 23 -70
rect 193 70 239 110
rect 193 -110 239 -70
<< end >>
